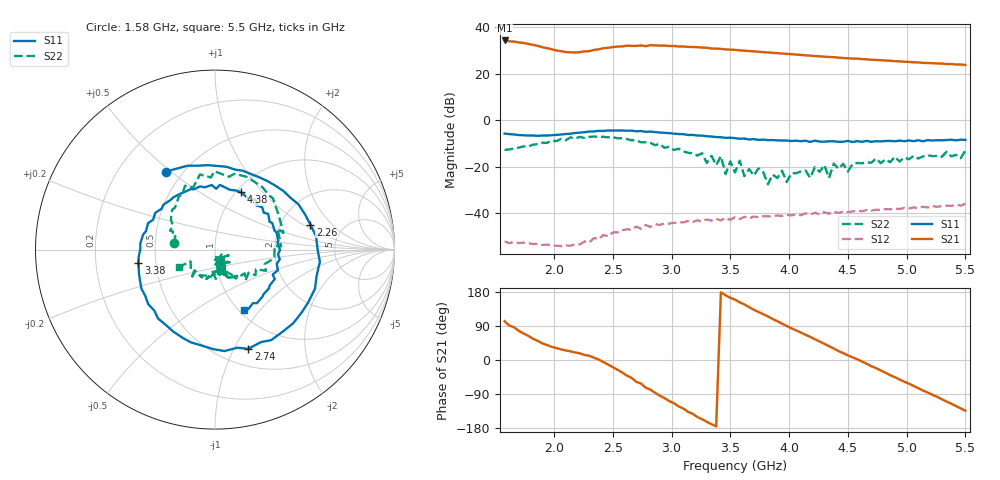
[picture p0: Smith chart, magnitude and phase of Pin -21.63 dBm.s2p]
! RsaToolbox (C) 2015 Rohde & Schwarz America
! Number of points: 99
! Number of ports: 2
! Balanced ports?: No
# Hz S RI R 50
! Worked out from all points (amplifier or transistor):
!   99 points, 1.58 GHz to 5.5 GHz, reference 50 ohm
!   highest |S21| = 34.4 dB at 1.58 GHz (marker M1)
!   |S21| within 3 dB of that: 2.483 GHz to 3.244 GHz (760.9 MHz wide, 26.6 % of centre)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
!   unconditionally stable (mu >= 1): start of sweep to end of sweep
!   at 2.22 GHz: K = 4.98, MAG = 31.5 dB, |S12| = -53.6 dB
!   at 3.54 GHz: K = 1.72, MAG = 31.1 dB, |S12| = -41.8 dB
!   at 5.5 GHz: K = 1.73, MAG = 25.0 dB, |S12| = -36.0 dB
!   S11 on the Smith chart (normalised r, x): 1.58 GHz: 0.41, +0.48; 2.26 GHz: 2.92, +1.17; 2.74 GHz: 0.68, -1.14; 3.38 GHz: 0.40, -0.07; 4.38 GHz: 1.06, +0.77; 5.5 GHz: 1.05, -0.83
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1.58e9  -0.2746 0.4337  -11.15 51.08  0.00114 -0.00215  -0.2258 0.035
1.62e9  -0.2241 0.4485  -0.8962 50.17  0.000896 -0.00204  -0.2213 0.0748
1.82e9  0.0629 0.4616  23.33 35.08  -0.000135 -0.00214  -0.2448 0.1647
2.02e9  0.2925 0.3819  27.1 16.6  -0.000336 -0.00193  -0.1855 0.2993
2.26e9  0.5315 0.1395  29.58 6.951  -0.000747 -0.00231  0.0787 0.4058
2.38e9  0.5842 -0.0674  33.63 0.7951  -0.000887 -0.00257  0.2085 0.3852
2.5e9  0.52 -0.2924  35.62 -12.08  -0.0023 -0.00301  0.3226 0.2862
2.62e9  0.3802 -0.4545  30.34 -26.51  -0.00335 -0.00291  0.3813 0.0929
2.74e9  0.1854 -0.5525  19.08 -36.11  -0.00421 -0.00169  0.3319 0.0207
2.9e9  -0.0699 -0.5358  -2.91 -40.29  -0.00552 -0.00017  0.2837 -0.1179
3.02e9  -0.2345 -0.4552  -16.15 -36.41  -0.00587 0.00165  0.1869 -0.1286
3.14e9  -0.3377 -0.3404  -27.57 -26.15  -0.00594 0.00301  0.1158 -0.1612
3.38e9  -0.4266 -0.0765  -34.7 -2.985  -0.00389 0.00642  0.0204 -0.1056
3.54e9  -0.4004 0.0836  -30.65 11.64  -0.00158 0.00794  0.0113 -0.0738
3.7e9  -0.3324 0.2052  -20.58 22.39  0.00109 0.00832  0.022 -0.0598
3.86e9  -0.233 0.2905  -8.842 26.87  0.00386 0.00759  0.0176 -0.0647
4.22e9  0.0273 0.3605  13.91 19.66  0.0094 0.00373  0.0625 -0.0748
4.38e9  0.1461 0.3191  19.73 11.53  0.0106 0.000625  0.0535 -0.1031
4.58e9  0.2626 0.2375  21.17 0.7098  0.0106 -0.00334  0.0575 -0.1043
4.86e9  0.3532 0.0484  14.59 -12.25  0.00717 -0.00954  -0.0133 -0.1233
5.18e9  0.3331 -0.1645  1.242 -16.99  0.000425 -0.013  -0.0639 -0.1623
5.5e9  0.1606 -0.339  -10.73 -11.18  -0.00909 -0.0129  -0.2002 -0.0963
